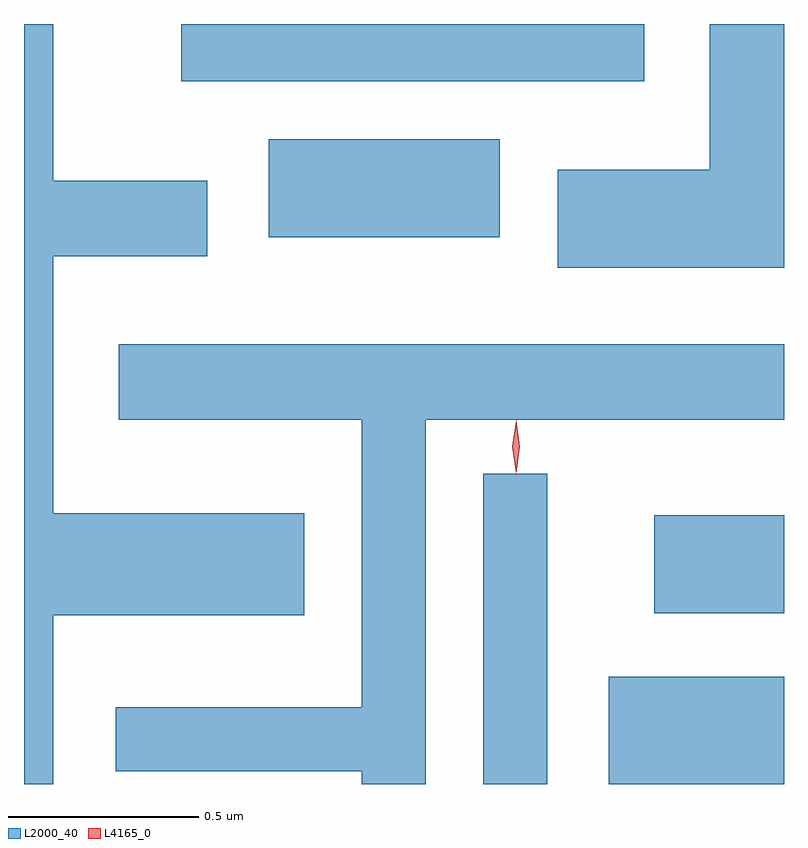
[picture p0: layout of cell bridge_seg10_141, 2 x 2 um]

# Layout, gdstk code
import gdstk
lib = gdstk.Library(unit=1e-6, precision=1e-09)
def R(c, l, rs):  # rectangles x0, y0, x1, y1
    for r in rs: c.add(gdstk.rectangle(r[:2], r[2:], *l))
def P(c, l, *ps):  # polygons
    for p in ps: c.add(gdstk.Polygon(p, *l))
L2000_40 = (2000, 40)
L4165_0 = (4165, 0)

bridge_seg10_141 = lib.new_cell('bridge_seg10_141')
R(bridge_seg10_141, L2000_40, [(1657.921,2141.357,1658.089,2142.173), (1658.251,2141.357,1658.712,2141.639), (1658.371,2141.806,1658.712,2142.064), (1657.356,2142.796,1657.964,2143.054), (1657.126,2143.206,1658.344,2143.357)])
P(bridge_seg10_141, L2000_40, [(1658.712,2143.357),(1658.516,2143.357),(1658.516,2142.974),(1658.116,2142.974),(1658.116,2142.716),(1658.712,2142.716)],
  [(1657.769,2142.316),(1658.712,2142.316),(1658.712,2142.514),(1656.961,2142.514),(1656.961,2142.316),(1657.601,2142.316),(1657.601,2141.559),(1656.953,2141.559),(1656.953,2141.391),(1657.601,2141.391),(1657.601,2141.357),(1657.769,2141.357)],
  [(1657.194,2142.746),(1657.194,2142.944),(1656.789,2142.944),(1656.789,2143.357),(1656.712,2143.357),(1656.712,2141.357),(1656.789,2141.357),(1656.789,2141.801),(1657.449,2141.801),(1657.449,2142.069),(1656.789,2142.069),(1656.789,2142.746)])
P(bridge_seg10_141, L4165_0, [(1658.007,2142.178),(1658.007,2142.178),(1657.997,2142.244),(1658.007,2142.311),(1658.007,2142.311),(1658.008,2142.311),(1658.017,2142.244),(1658.008,2142.178)],
  [(1658.007,2142.174),(1658.007,2142.175),(1657.997,2142.244),(1658.007,2142.313),(1658.007,2142.314),(1658.008,2142.313),(1658.017,2142.244),(1658.008,2142.175)])

lib.write_gds('bridge_seg10_141.gds')
